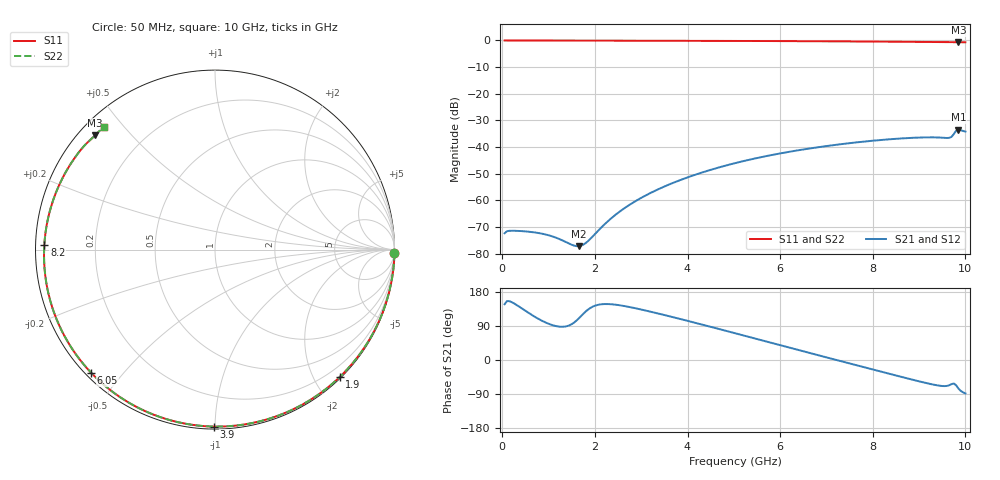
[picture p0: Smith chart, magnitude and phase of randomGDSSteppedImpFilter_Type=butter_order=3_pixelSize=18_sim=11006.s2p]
! freq	dB(S11)	phase(S11)	dB(S12)	phase(S12)
!  dB(S21)	phase(S21)	dB(S22)	phase(S22)
!S-par simulation data
#  GHz  S  DB  R 50
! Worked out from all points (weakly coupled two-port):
!   200 points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, 50 MHz to 10 GHz, reference 50 ohm
!   highest |S21| = -33.45 dB at 9.85 GHz (marker M1); lowest = -77.1 dB at 1.65 GHz (marker M2)
!   lowest |S11| = -0.7 dB at 9.85 GHz (marker M3), VSWR 24.79, Z = 2.34 + j20 ohm
!   |S11| at or under -10 dB: nowhere
!   |S22| runs from -0.7 to 0.0 dB; largest |S21 - S12| = 0
!   S11 on the Smith chart (normalised r, x): 50 MHz: 0, -93; 1.9 GHz: 0.02, -2.38; 3.9 GHz: 0.01, -0.99; 6.05 GHz: 0.02, -0.41; 8.2 GHz: 0.02, +0.01; 10 GHz: 0.05, +0.44
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0.05  -0.00 -1.2  -72.31 147.2  -72.31 147.2  -0.00 -1.2
0.1  -0.00 -2.5  -71.54 155.4  -71.54 155.4  -0.00 -2.5
0.2  -0.00 -4.9  -71.36 153.0  -71.36 153.0  -0.00 -4.9
0.8  -0.02 -19.5  -72.26 107.2  -72.26 107.2  -0.02 -19.5
1.65  -0.05 -39.8  -77.14 109.6  -77.14 109.6  -0.05 -39.8
1.75  -0.05 -42.1  -76.57 122.1  -76.57 122.1  -0.05 -42.1
1.9  -0.06 -45.6  -74.42 137.2  -74.42 137.2  -0.06 -45.6
2.25  -0.07 -53.7  -68.27 147.7  -68.27 147.7  -0.07 -53.7
2.55  -0.08 -60.5  -63.98 144.2  -63.98 144.2  -0.08 -60.6
2.95  -0.09 -69.5  -59.50 134.6  -59.50 134.6  -0.09 -69.6
3.4  -0.10 -79.5  -55.54 121.7  -55.54 121.7  -0.10 -79.5
3.9  -0.12 -90.3  -51.98 106.5  -51.98 106.5  -0.12 -90.3
5.05  -0.17 -114.5  -45.90 69.9  -45.90 69.9  -0.17 -114.6
6.05  -0.24 -135.2  -42.20 37.5  -42.20 37.5  -0.24 -135.3
6.7  -0.29 -148.7  -40.34 16.5  -40.34 16.5  -0.29 -148.8
7.45  -0.35 -164.8  -38.61 -7.5  -38.61 -7.5  -0.35 -164.9
8.2  -0.43 178.4  -37.29 -31.4  -37.29 -31.4  -0.43 178.2
8.35  -0.45 174.9  -37.07 -36.1  -37.07 -36.1  -0.45 174.7
9  -0.53 159.0  -36.41 -56.3  -36.41 -56.3  -0.53 158.9
9.65  -0.63 141.8  -36.52 -66.7  -36.52 -66.7  -0.63 141.6
9.85  -0.70 136.4  -33.45 -75.3  -33.45 -75.3  -0.70 136.3
10  -0.69 132.3  -34.17 -88.1  -34.17 -88.1  -0.70 132.1
